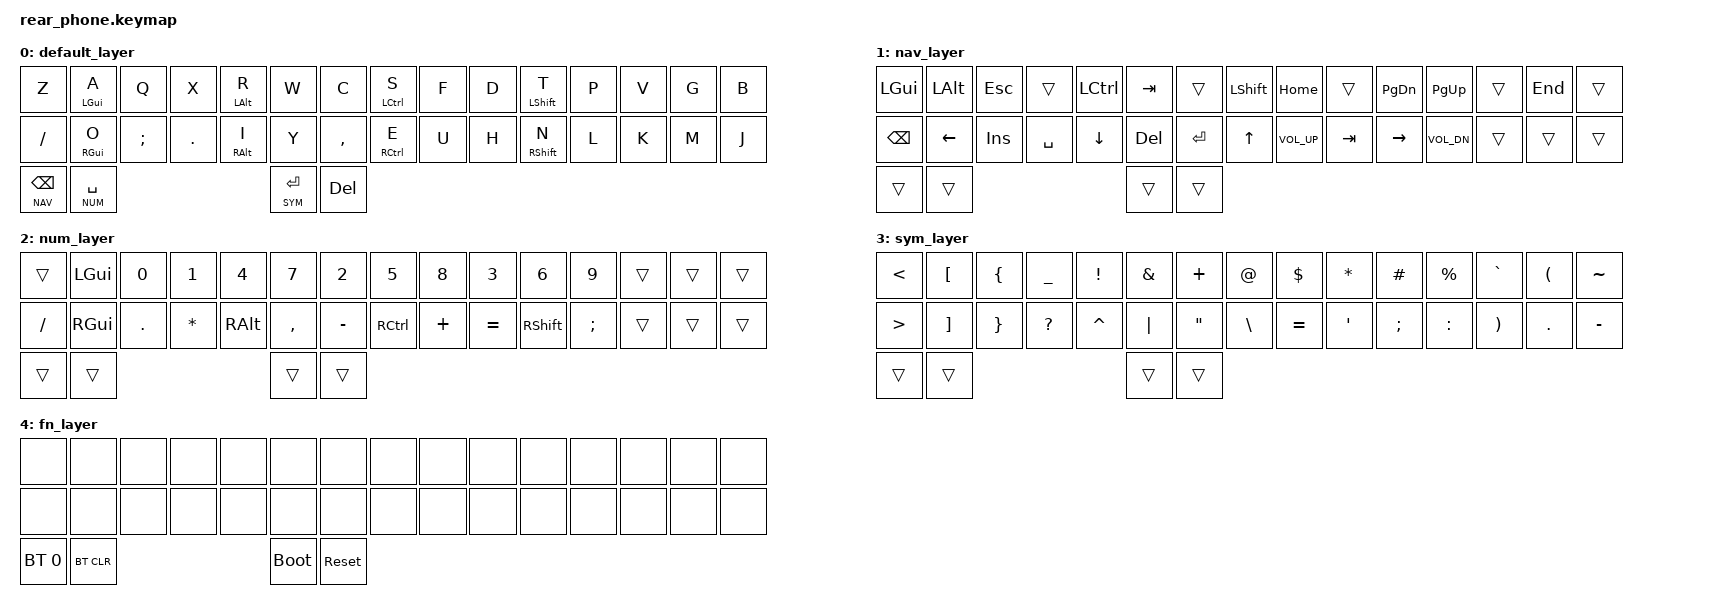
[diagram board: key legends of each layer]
// rear_phone.keymap — urob-style ZMK config for the 34-key rear phone keywell
// nice!nano v2, single controller, Colemak-DH, timeless home row mods.
//
// Key numbering follows hand_keys() in rear_keyboard.scad:
//   per hand, columns pinky -> ring -> middle -> index -> inner index,
//   each column curl (toward palm) -> home -> extend (toward the other hand).
//
//   LEFT  pinky 0 1 2 | ring 3 4 5 | middle 6 7 8 | index 9 10 11 | inner 12 13 14
//   RIGHT pinky 15 16 17 | ring 18 19 20 | middle 21 22 23 | index 24 25 26 | inner 27 28 29
//   THUMBS  left far 30, left near 31 | right far 32, right near 33
//
// Colemak-DH maps curl = bottom row, home = home row, extend = top row.

#include <behaviors.dtsi>
#include <dt-bindings/zmk/keys.h>
#include <dt-bindings/zmk/bt.h>

#define DEF 0
#define NAV 1
#define NUM 2
#define SYM 3
#define FN  4

#define KEYS_L 0 1 2 3 4 5 6 7 8 9 10 11 12 13 14
#define KEYS_R 15 16 17 18 19 20 21 22 23 24 25 26 27 28 29
#define THUMBS 30 31 32 33
#define QUICK_TAP_MS 175

/ {
    behaviors {
        hml: home_row_mod_left {
            compatible = "zmk,behavior-hold-tap"; #binding-cells = <2>;
            bindings = <&kp>, <&kp>;
            flavor = "balanced"; tapping-term-ms = <280>; quick-tap-ms = <QUICK_TAP_MS>;
            require-prior-idle-ms = <150>;
            hold-trigger-key-positions = <KEYS_R THUMBS>; hold-trigger-on-release;
        };
        hmr: home_row_mod_right {
            compatible = "zmk,behavior-hold-tap"; #binding-cells = <2>;
            bindings = <&kp>, <&kp>;
            flavor = "balanced"; tapping-term-ms = <280>; quick-tap-ms = <QUICK_TAP_MS>;
            require-prior-idle-ms = <150>;
            hold-trigger-key-positions = <KEYS_L THUMBS>; hold-trigger-on-release;
        };
        lt_thumb: layer_tap_thumb {
            compatible = "zmk,behavior-hold-tap"; #binding-cells = <2>;
            bindings = <&mo>, <&kp>;
            flavor = "balanced"; tapping-term-ms = <200>; quick-tap-ms = <QUICK_TAP_MS>;
        };
        smart_shft: smart_shift {
            compatible = "zmk,behavior-mod-morph"; #binding-cells = <0>;
            bindings = <&sk LSHFT>, <&caps_word>; mods = <(MOD_LSFT)>;
        };
    };

    combos {
        compatible = "zmk,combos";
        // flat thumb press = both keys of a pair
        combo_thumb_l { timeout-ms = <40>; key-positions = <30 31>; bindings = <&kp TAB>; };
        combo_thumb_r { timeout-ms = <40>; key-positions = <32 33>; bindings = <&smart_shft>; };
        // both far thumbs: lock the board so setting the phone down doesn't type
        combo_lock    { timeout-ms = <50>; key-positions = <30 32>; bindings = <&tog FN>; };
        // inner-index home + index home on each side
        combo_esc     { timeout-ms = <30>; key-positions = <10 13>; bindings = <&kp ESC>;  layers = <DEF>; };
        combo_ret     { timeout-ms = <30>; key-positions = <25 28>; bindings = <&kp RET>;  layers = <DEF>; };
        combo_quot    { timeout-ms = <30>; key-positions = <22 25>; bindings = <&kp SQT>;  layers = <DEF>; };
        combo_minus   { timeout-ms = <30>; key-positions = <19 22>; bindings = <&kp MINUS>; layers = <DEF>; };
    };

    keymap {
        compatible = "zmk,keymap";

        // Each column is written curl, home, extend.
        default_layer {
            bindings = <
                // left: pinky          ring                  middle                index                 inner
                &kp Z  &hml LGUI A  &kp Q    &kp X  &hml LALT R  &kp W    &kp C  &hml LCTRL S &kp F   &kp D  &hml LSHFT T &kp P   &kp V  &kp G  &kp B
                // right: pinky         ring                  middle                index                 inner
                &kp FSLH &hmr RGUI O &kp SEMI &kp DOT &hmr RALT I &kp Y   &kp COMMA &hmr RCTRL E &kp U &kp H &hmr RSHFT N &kp L   &kp K  &kp M  &kp J
                // thumbs: L far, L near, R far, R near
                &lt_thumb NAV BSPC  &lt_thumb NUM SPACE   &lt_thumb SYM RET  &kp DEL
            >;
        };

        nav_layer {
            bindings = <
                &kp LGUI &kp LALT &kp ESC    &trans &kp LCTRL &kp TAB   &trans &kp LSHFT &kp HOME   &trans &kp PG_DN &kp PG_UP   &trans &kp END &trans
                &kp BSPC &kp LEFT &kp INS    &kp SPACE &kp DOWN &kp DEL &kp RET &kp UP &kp C_VOL_UP   &kp TAB &kp RIGHT &kp C_VOL_DN   &trans &trans &trans
                &trans &trans   &trans &trans
            >;
        };

        num_layer {
            bindings = <
                &trans &kp LGUI &kp N0   &kp N1 &kp N4 &kp N7   &kp N2 &kp N5 &kp N8   &kp N3 &kp N6 &kp N9   &trans &trans &trans
                &kp FSLH &kp RGUI &kp DOT  &kp STAR &kp RALT &kp COMMA   &kp MINUS &kp RCTRL &kp PLUS   &kp EQUAL &kp RSHFT &kp SEMI   &trans &trans &trans
                &trans &trans   &trans &trans
            >;
        };

        sym_layer {
            bindings = <
                &kp LT &kp LBKT &kp LBRC   &kp UNDER &kp EXCL &kp AMPS   &kp PLUS &kp AT &kp DLLR   &kp STAR &kp HASH &kp PRCNT   &kp GRAVE &kp LPAR &kp TILDE
                &kp GT &kp RBKT &kp RBRC   &kp QMARK &kp CARET &kp PIPE   &kp DQT &kp BSLH &kp EQUAL   &kp SQT &kp SEMI &kp COLON   &kp RPAR &kp DOT &kp MINUS
                &trans &trans   &trans &trans
            >;
        };

        fn_layer {   // also the "locked" layer: everything &none except the unlock combo
            bindings = <
                &none &none &none   &none &none &none   &none &none &none   &none &none &none   &none &none &none
                &none &none &none   &none &none &none   &none &none &none   &none &none &none   &none &none &none
                &bt BT_SEL 0 &bt BT_CLR   &bootloader &sys_reset
            >;
        };
    };
};
